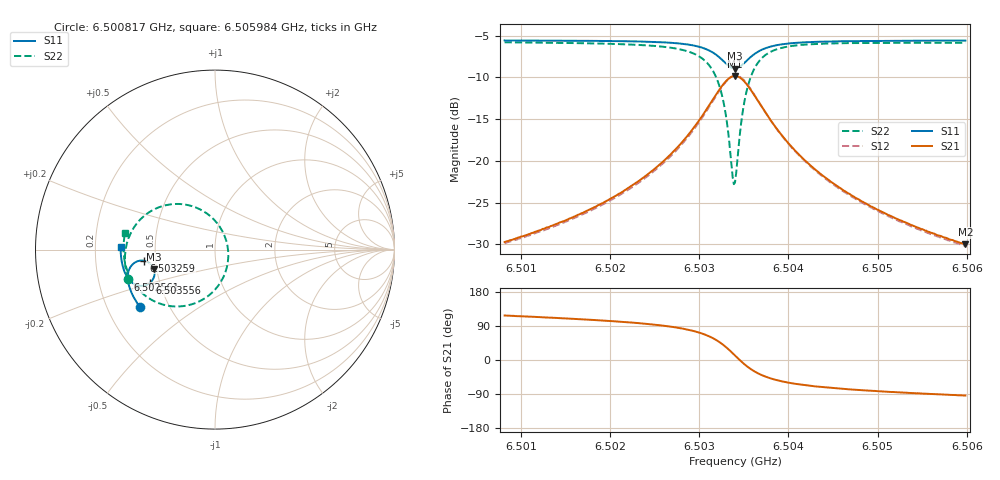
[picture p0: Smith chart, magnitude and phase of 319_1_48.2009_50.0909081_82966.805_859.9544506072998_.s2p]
#  HZ  S  RI  R  50.00
! Rohde & Schwarz Vector Network Analyzer
! Rohde-Schwarz,ZNB20-2Port,1311601062101988,3.16
! Created: UTC 3/20/2024, 11:50:18 AM
! freq[Hz]  re:S11  im:S11  re:S21  im:S21  re:S12  im:S12  re:S22  im:S22
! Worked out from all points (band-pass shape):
!   401 points, 6.500817 GHz to 6.505984 GHz, reference 50 ohm
!   highest |S21| = -9.83 dB at 6.503401 GHz (marker M1); lowest = -30.0 dB at 6.505984 GHz (marker M2)
!   |S21| within 3 dB of the highest: 6.503142 GHz to 6.503659 GHz (517.3 kHz wide, 0.00795 % of centre)
!   lowest |S11| = -8.9 dB at 6.503401 GHz (marker M3), VSWR 2.11, Z = 24.1 - j6.09 ohm
!   |S11| at or under -10 dB: nowhere
!   |S22| runs from -22.8 to -5.8 dB; largest |S21 - S12| = 0.011
!   S11 on the Smith chart (normalised r, x): 6.500817 GHz: 0.34, -0.30; 6.502561 GHz: 0.33, -0.15; 6.503259 GHz: 0.43, -0.06; 6.503556 GHz: 0.44, -0.20; 6.505984 GHz: 0.31, +0.01
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6.5008173e9  -0.4202 -0.3174  -0.015 0.0289  -0.0133 0.0291  -0.4858 -0.1661
6.5016827e9  -0.4583 -0.2546  -0.0144 0.0464  -0.0121 0.0459  -0.5013 -0.0763
6.5021477e9  -0.4752 -0.2142  -0.0119 0.0646  -0.0089 0.0637  -0.4997 -0.0122
6.5025482e9  -0.4852 -0.1712  -0.00317 0.0941  0.0003 0.092  -0.4813 0.0648
6.5025611e9  -0.4854 -0.1695  -0.00276 0.0955  0.000919 0.0933  -0.4801 0.0679
6.5028065e9  -0.4849 -0.1344  0.0154 0.1282  0.0191 0.1245  -0.4422 0.1371
6.5029873e9  -0.4737 -0.1012  0.0497 0.164  0.0529 0.1588  -0.3746 0.2031
6.5031553e9  -0.4395 -0.0682  0.1264 0.1971  0.1277 0.1907  -0.2339 0.2537
6.5032586e9  -0.3974 -0.0614  0.2107 0.1885  0.2111 0.1831  -0.0872 0.2262
6.5033103e9  -0.3721 -0.0699  0.2585 0.1607  0.2593 0.1562  -0.00785 0.1693
6.5033749e9  -0.3459 -0.0957  0.3054 0.0982  0.308 0.093  0.0629 0.0487
6.5034007e9  -0.3396 -0.1101  0.3154 0.0667  0.3185 0.0608  0.0735 -0.00992
6.5034136e9  -0.3378 -0.1177  0.3182 0.0501  0.3213 0.0436  0.0741 -0.04
6.5034911e9  -0.3437 -0.1617  0.3014 -0.043  0.3033 -0.0526  0.0171 -0.2024
6.5035557e9  -0.3645 -0.187  0.2594 -0.096  0.2583 -0.107  -0.0774 -0.2833
6.503659e9  -0.4033 -0.2016  0.1865 -0.1316  0.1812 -0.1407  -0.2242 -0.3167
6.503827e9  -0.4487 -0.1919  0.1064 -0.1289  0.0996 -0.1337  -0.3683 -0.271
6.5040078e9  -0.4757 -0.1706  0.0628 -0.1093  0.0568 -0.1115  -0.439 -0.2074
6.5042662e9  -0.4963 -0.1404  0.0333 -0.0857  0.0287 -0.0861  -0.4815 -0.1362
6.5046407e9  -0.5114 -0.1019  0.0151 -0.0636  0.0119 -0.0632  -0.5034 -0.064
6.5051316e9  -0.5212 -0.0569  0.00484 -0.0469  0.00268 -0.0461  -0.5097 0.00391
6.5059841e9  -0.5258 0.0148  -0.00204 -0.0315  -0.00346 -0.0306  -0.5015 0.0925
